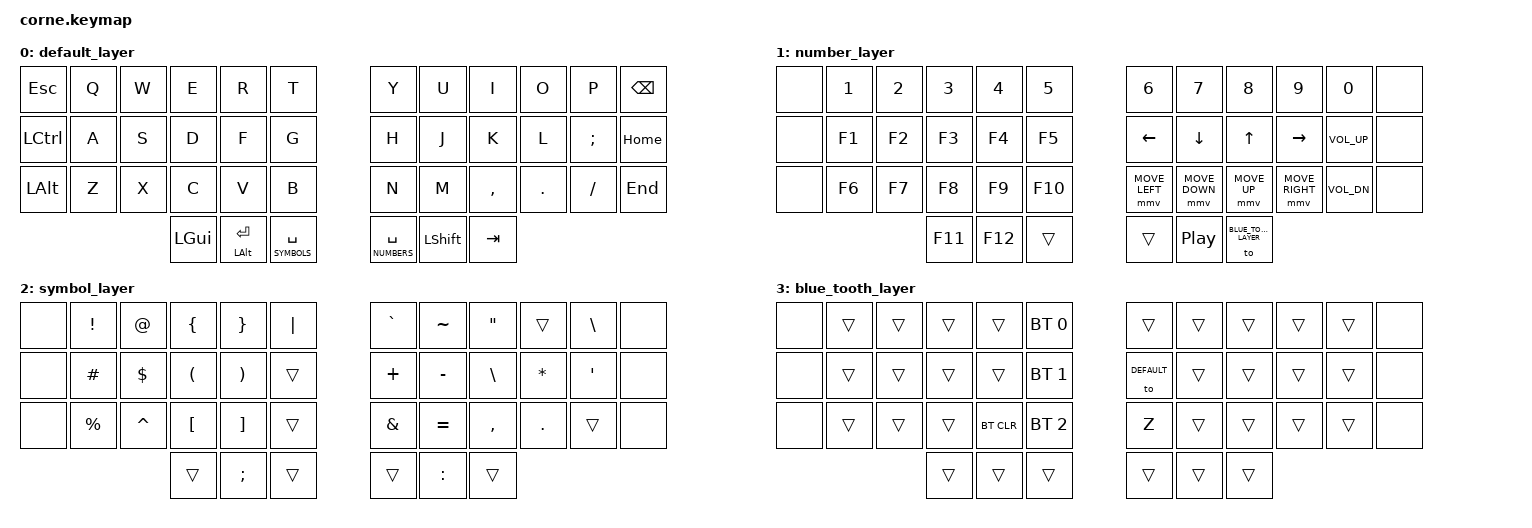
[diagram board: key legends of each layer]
#include <behaviors.dtsi>
#include <dt-bindings/zmk/mouse.h>
#include <dt-bindings/zmk/keys.h>
#include <dt-bindings/zmk/mouse.h>
#include <dt-bindings/zmk/bt.h>
#include <dt-bindings/zmk/pointing.h>

#define ZMK_POINTING_DEFAULT_MOVE_VAL 1500  // default: 600
#define ZMK_POINTING_DEFAULT_SCRL_VAL 20    // default: 10
#define DEFAULT 0
#define NUMBERS 1
#define SYMBOLS 2
#define BLUE_TOOTH_LAYER 3
#define GAMEPAD 4
#define COMBO_DELAY 50

/ { // Main
// Combomap
//
// ╭───────┬───────┬─────┬─────┬─────┬─────╮      ╭─────┬─────┬─────┬─────┬───────┬───────╮
// │   0   │   1   │  2  │  3  │  4  │  5  │      │  6  │  7  │  8  │ 9   │  10   │  11   │
// │       │       │    ESC    │     │     │      │     │    ESC    │     \       │       │
// ├───────┼───────┼─────┼─────┼─────┼─────┤      ├─────┼─────┼─────┼─────┼───────┼───────┤
// │  12   │  13   │  14 │ 15  │ 16  │ 17  │      │ 18  │ 19  │ 20  │ 21  │  22   │  23   │
// │       │       │BackSpace Tab    │     │      │     <     :     >   DELETE    │       │
// ├───────┼───────┼─────┼─────┼─RMB─┼─LMB─┤      ├ENTER┼─────┼─────┼─────┼───────┼───────┤
// │  24   │  25   │ 26  │ 27  │ 28  │ 29  │      │ 30  │ 31  │ 32  │ 33  │  34   │  35   │
// │       │       │     -   ENTER   │     │      │     '     _     │     │       │       │
// ╰───────┴───────┴─────┴─────┴─────┴─────╯      ╰─────┴─────┴─────┴─────┴───────┴───────╯
//            ╭─────┬─────┬─────╮            ╭─────┬─────┬─────╮
//            │ 36  │ 37  │ 38  │            │ 39  │ 40  │ 41  │
//            ╰─────┴─────┴─────╯            ╰─────┴─────┴─────╯
	combos {
		compatible = "zmk,combos";
		combo_right_mouse_button {
		    timeout-ms = <COMBO_DELAY>;
		    key-positions = <16 28>;  // fv
		    bindings = <&kp MINUS>; // Right Mouse Button
		    layers = <DEFAULT>;
		};
		combo_left_mouse_button {
		    timeout-ms = <COMBO_DELAY>;
		    key-positions = <17 29>;  // gb
		    bindings = <&kp MINUS>; // Left Mouse Button
		    layers = <DEFAULT>;
		};
		combo_dash {
		    timeout-ms = <COMBO_DELAY>;
		    key-positions = <26 27>;  // xc
		    bindings = <&kp MINUS>; // -
		    layers = <DEFAULT>;
		};
		combo_tab {
		    timeout-ms = <COMBO_DELAY>;
		    key-positions = <16 17>;  // df
		    bindings = <&kp TAB>; // Tab
		    layers = <DEFAULT>;
		};
		combo_enter {
		    timeout-ms = <COMBO_DELAY>;
		    key-positions = <27 28>;  // cv
		    bindings = <&kp ENTER>; // Enter
		    layers = <DEFAULT>;
		};
		combo_backslash {
		    timeout-ms = <COMBO_DELAY>;
		    key-positions = <9 10>; // io
		    bindings = <&kp BSLH>; // BackSlash
		    layers = <DEFAULT>;
		};
		combo_backspace {
		    timeout-ms = <COMBO_DELAY>;
		    key-positions = <14 15>; // sd
		    bindings = <&kp BSPC>; // BackSpace
		    layers = <DEFAULT>;
		};
		combo_ecs {
		    timeout-ms = <COMBO_DELAY>;
		    key-positions = <2 3>;  // we
		    bindings = <&kp ESC>; // Esc
		    layers = <DEFAULT>;
		};
		combo_less_than {
		    timeout-ms = <COMBO_DELAY>;
		    key-positions = <18 19>;  // hj
		    bindings = <&kp LT>; // <
		    layers = <DEFAULT>;
		};
		combo_colon {
		    timeout-ms = <COMBO_DELAY>;
		    key-positions = <19 20>;  // jk
		    bindings = <&kp COLON>; // :
		    layers = <DEFAULT>;
		};
		combo_greater_than {
		    timeout-ms = <COMBO_DELAY>;
		    key-positions = <20 21>;  // kl
		    bindings = <&kp GT>; // >
		    layers = <DEFAULT>;
		};
		combo_underscore {
		    timeout-ms = <COMBO_DELAY>;
		    key-positions = <31 32>;  // m,
		    bindings = <&kp UNDERSCORE>; // _
		    layers = <DEFAULT>;
		};
		combo_delete {
		    timeout-ms = <COMBO_DELAY>;
		    key-positions = <21 22>;  // xc
		    bindings = <&kp DELETE>; // DEL
		    layers = <DEFAULT>;
		};
	};
        keymap {
                compatible = "zmk,keymap";

// ---------------------------------------------------------------------------------------------------------------------------------------------
                default_layer {
                        bindings = <
//    ╭─────────┬──────┬─────┬─────┬─────┬─────╮                 ╭─────┬─────┬─────────┬───────┬─────────┬─────────╮
//    │   0     │  1   │  2  │  3  │  4  │  5  │                 │  6  │  7  │    8    │  9    │  10     │    11   │
//    │  ESC    │  Q   │  W  │  E  │  R  │  T  │                 │  Y  │  U  │    I    │  O    │   P     │BackSpace│
       &kp ESC   &kp Q  &kp W &kp E &kp R &kp T                   &kp Y &kp U   &kp I   &kp O   &kp P     &kp BSPC
//    ├─────────┼──────┼─────┼─────┼─────┼─────┤                 ├─────┼─────┼─────────┼───────┼─────────┼─────────┤
//    │  12     │  13  │  14 │  15 │  16 │  17 │                 │  18 │  19 │   20    │  21   │  22     │   23    │
//    │ CTRL    │   A  │  S  │  D  │  F  │  G  │                 │  H  │  J  │    K    │  L    │   ;     │  HOME   │
       &kp LCTRL &kp A  &kp S &kp D &kp F &kp G                   &kp H &kp J   &kp K    &kp L  &kp SEMI  &kp HOME
//    ├─────────┼──────┼─────┼─────┼─────┼─────┤                 ├─────┼─────┼─────────┼───────┼─────────┼─────────┤
//    │  24     │  25  │  26 │  27 │  28 │  29 │                 │  30 │  31 │   32    │  33   │  34     │   35    │
//    │  ALT    │   Z  │  X  │  C  │  V  │  B  │                 │  N  │  M  │    ,    │  .    │   /     │  END    │
       &kp LALT  &kp Z  &kp X &kp C &kp V &kp B                   &kp N &kp M &kp COMMA &kp DOT &kp FSLH  &kp END
//    ╰─────────┴──────┴─────┴─────┴─────┴─────╯                 ╰─────┴─────┴─────────┴───────┴─────────┴─────────╯
//         ╭───────────┬────────────┬─────────────────╮   ╭─────────────────┬──────────┬─────────╮
//         │    36     │    37      │      38         │   │      38         │    39    │  40     │
//         │   META    │ ENT ALT    │   SPC SPE       │   │    SPC NUM      │ SHFT     │ TAB     │
             &kp LGUI   &mt LALT RET &lt SYMBOLS SPACE     &lt NUMBERS SPACE &kp LSHIFT  &kp TAB
//         ╰───────────┴────────────┴─────────────────╯   ╰─────────────────┴──────────┴─────────╯
                >;
                };
// ---------------------------------------------------------------------------------------------------------------------------------------------
                number_layer {
                        bindings = <
// ╭───────┬───────┬──────┬──────┬──────┬──────╮               ╭───────────────┬───────────────┬─────────────┬────────────────┬────────────┬───────╮
// │   0   │   1   │  2   │  3   │  4   │  5   │               │       6       │      7        │      8      │      9         │     10     │  11   │
// │       │   1   │  2   │  3   │  4   │  5   │               │       6       │      7        │      8      │      9         │     0      │       │
    &none    &kp N1 &kp N2 &kp N3 &kp N4 &kp N5                     &kp N6          &kp N7          &kp N8        &kp N9       &kp N0       &none
// ├───────┼───────┼──────┼──────┼──────┼──────┤               ├───────────────┼───────────────┼─────────────┼────────────────┼────────────┼───────┤
// │  12   │  13   │  14  │  15  │  16  │  17  │               │      18       │      19       │    20       │     21         │    22      │  23   │
// │       │  F1   │  F2  │  F3  │  F4  │  F5  │               │     LEFT      │     DOWN      │    UP       │    RIGHT       │  Vol Up    │       │
    &none   &kp F1  &kp F2 &kp F3 &kp F4 &kp F5                    &kp LEFT        &kp DOWN       &kp UP        &kp RIGHT      &kp C_VOL_UP &none
// ├───────┼───────┼──────┼──────┼──────┼──────┤               ├───────────────┼───────────────┼─────────────┼────────────────┼────────────┼───────┤
// │  24   │    25 │  26  │  27  │  28  │  29  │               │      30       │      31       │   32        │      33        │     34     │  35   │
// │       │  F6   │  F7  │  F8  │  F9  │  F10 │               │  Mouse Left   │  Mouse Down   │  Mouse Up   │  Mouse Right   │  Vol Down  │       │
    &none   &kp F6  &kp F7 &kp F8 &kp F9 &kp F10                &mmv MOVE_LEFT  &mmv MOVE_DOWN  &mmv MOVE_UP  &mmv MOVE_RIGHT  &kp C_VOL_DN &none
// ╰───────┴───────┴──────┴──────┴──────┴──────╯               ╰───────────────┴───────────────┴─────────────┴────────────────┴────────────┴───────╯
//         ╭───────────┬─────────┬─────────────────╮      ╭─────────────────┬────────────┬─────────────────────╮
//         │    36     │    37   │      38         │      │      38         │    39      │     40              │
//         │    F11    │   F12   │      SPC SPE    │      │ SPC NUM         │ Play/Pause │                     │
             &kp F11     &kp F12       &trans                &trans          &kp C_PP     &to BLUE_TOOTH_LAYER
//         ╰───────────┴─────────┴─────────────────╯      ╰─────────────────┴────────────┴─────────────────────╯
                >;
                };

// ---------------------------------------------------------------------------------------------------------------------------------------------
                symbol_layer {
                        bindings = <
// ╭───────┬───────────┬─────────┬────────┬────────┬────────╮      ╭─────────┬──────────┬─────────┬──────────┬─────────┬───────╮
// │   0   │     1     │    2    │  3     │  4     │  5     │      │   6     │    7     │   8     │    9     │    10   │  11   │
// │       │     !     │    @    │  {     │  }     │  |     │      │   `     │    ~     │   "     │          │     \   │       │
    &none    &kp EXCL     &kp AT  &kp LBRC &kp RBRC &kp PIPE        &kp GRAVE &kp TILDE  &kp DQT   &trans     &kp BSLH  &none
// ├───────┼───────────┼─────────┼────────┼────────┼────────┤      ├─────────┼──────────┼─────────┼──────────┼─────────┼───────┤
// │  12   │   13      │   14    │  15    │  16    │  17    │      │   18    │    19    │   20    │   21     │   22    │  23   │
// │       │   #       │   $     │  (     │  )     │        │      │   +     │    -     │   /     │   *      │    '    │       │
    &none   &kp HASH    &kp DLLR  &kp LPAR &kp RPAR &trans          &kp PLUS  &kp MINUS  &kp BSLH  &kp STAR   &kp APOS  &none
// ├───────┼───────────┼─────────┼────────┼────────┼────────┤      ├─────────┼──────────┼─────────┼──────────┼─────────┼───────┤
// │  24   │     25    │   26    │   27   │   28   │  29    │      │   30    │    31    │   32    │    33    │   34    │  35   │
// │       │     %     │   ^     │   [    │   ]    │        │      │   &     │    =     │   ,     │     .    │         │       │
    &none    &kp PRCNT  &kp CARET &kp LBKT &kp RBKT &trans          &kp AMPS  &kp EQUAL  &kp COMMA   &kp DOT  &trans    &none
// ╰───────┴───────────┴─────────┴────────┴────────┴────────╯      ╰─────────┴──────────┴─────────┴──────────┴─────────┴───────╯
//          ╭───────────┬─────────┬─────────────────╮      ╭─────────────────┬────────────┬─────────╮
//          │    36     │    37   │      38         │      │      38         │    39      │     40  │
//          │           │   ;     │                 │      │    SPC NUM      │     :      │         │
             &trans      &kp SEMI     &trans                     &trans        &kp COLON    &trans
//          ╰───────────┴─────────┴─────────────────╯      ╰─────────────────┴────────────┴─────────╯
		            >;
                };
// -----------------------------------------------------------------------------------------
                blue_tooth_layer {
                   bindings = <
// ╭───────┬───────────┬─────────┬────────┬──────────┬──────────────╮      ╭───────────┬──────────┬─────────┬──────────┬─────────┬───────╮
// │   0   │     1     │    2    │  3     │   4      │  5           │      │     6     │    7     │   8     │    9     │    10   │  11   │
// │       │           │         │        │          │              │      │           │          │         │          │         │       │
    &none   &trans      &trans    &trans   &trans     &bt BT_SEL 0          &trans       &trans     &trans    &trans     &trans    &none
// ├───────┼───────────┼─────────┼────────┼──────────┼──────────────┤      ├───────────┼──────────┼─────────┼──────────┼─────────┼───────┤
// │  12   │   13      │   14    │  15    │  16      │  17          │      │     18    │    19    │   20    │   21     │   22    │  23   │
// │       │           │         │        │          │              │      │           │          │         │          │         │       │
    &none   &trans      &trans    &trans   &trans     &bt BT_SEL 1          &to DEFAULT &trans     &trans   &trans     &trans     &none
// ├───────┼───────────┼─────────┼────────┼──────────┼──────────────┤      ├───────────┼──────────┼─────────┼──────────┼─────────┼───────┤
// │  24   │     25    │   26    │   27   │   28     │      29      │      │     30    │    31    │   32    │    33    │   34    │  35   │
// │       │           │         │        │          │              │      │           │          │         │          │         │       │
    &none   &trans      &trans    &trans   &bt BT_CLR &bt BT_SEL 2          &kp Z       &trans     &trans    &trans     &trans    &none
// ╰───────┴───────────┴─────────┴────────┴──────────┴──────────────╯      ╰───────────┴──────────┴─────────┴──────────┴─────────┴───────╯
//          ╭───────────┬─────────┬─────────────────╮      ╭─────────────────┬────────────┬─────────╮
//          │    36     │    37   │      38         │      │      38         │    39      │     40  │
//          │           │         │                 │      │                 │            │         │
               &trans      &trans     &trans                   &trans           &trans       &trans
//          ╰───────────┴─────────┴─────────────────╯      ╰─────────────────┴────────────┴─────────╯
                >;
		            };
  }; // keymap
}; // Main
